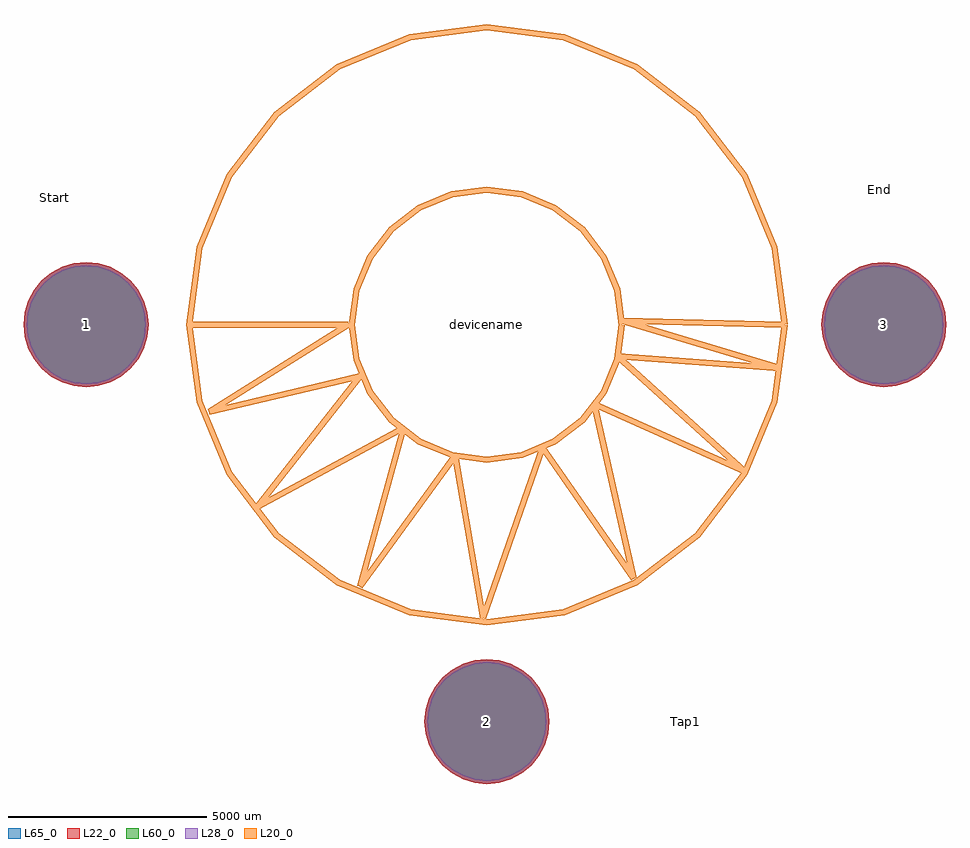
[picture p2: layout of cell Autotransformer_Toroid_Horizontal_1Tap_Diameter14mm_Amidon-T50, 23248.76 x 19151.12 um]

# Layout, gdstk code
import gdstk
lib = gdstk.Library(unit=1e-6, precision=1e-09)
def P(c, l, *ps):  # polygons
    for p in ps: c.add(gdstk.Polygon(p, *l))
L20_0 = (20, 0)
L22_0 = (22, 0)
L28_0 = (28, 0)
L60_0 = (60, 0)
L65_0 = (65, 0)

autotransformer_toroid_h = lib.new_cell('Autotransformer_Toroid_Horizontal_1Tap_Diameter14mm_Amidon-T50')
P(autotransformer_toroid_h, L22_0, [(11574.85,0),(11544.589,307.242),(11454.97,602.677),(11309.437,874.951),(11113.581,1113.601),(10874.931,1309.457),(10602.657,1454.99),(10307.222,1544.609),(9999.98,1574.87),(9692.738,1544.609),(9397.303,1454.99),(9125.029,1309.457),(8886.379,1113.601),(8690.523,874.951),(8544.99,602.677),(8455.371,307.242),(8425.11,0),(8455.371,-307.242),(8544.99,-602.677),(8690.523,-874.951),(8886.379,-1113.601),(9125.029,-1309.457),(9397.303,-1454.99),(9692.738,-1544.609),(9999.98,-1574.87),(10307.222,-1544.609),(10602.657,-1454.99),(10874.931,-1309.457),(11113.581,-1113.601),(11309.437,-874.951),(11454.97,-602.677),(11544.589,-307.242)],
  [(1574.87,-9999.98),(1544.609,-9692.738),(1454.99,-9397.303),(1309.457,-9125.029),(1113.601,-8886.379),(874.951,-8690.523),(602.677,-8544.99),(307.242,-8455.371),(0,-8425.11),(-307.242,-8455.371),(-602.677,-8544.99),(-874.951,-8690.523),(-1113.601,-8886.379),(-1309.457,-9125.029),(-1454.99,-9397.303),(-1544.609,-9692.738),(-1574.87,-9999.98),(-1544.609,-10307.222),(-1454.99,-10602.657),(-1309.457,-10874.931),(-1113.601,-11113.581),(-874.951,-11309.437),(-602.677,-11454.97),(-307.242,-11544.589),(0,-11574.85),(307.242,-11544.589),(602.677,-11454.97),(874.951,-11309.437),(1113.601,-11113.581),(1309.457,-10874.931),(1454.99,-10602.657),(1544.609,-10307.222)],
  [(-8524.17,0),(-8554.431,307.242),(-8644.05,602.677),(-8789.583,874.951),(-8985.439,1113.601),(-9224.089,1309.457),(-9496.363,1454.99),(-9791.798,1544.609),(-10099.04,1574.87),(-10406.282,1544.609),(-10701.717,1454.99),(-10973.991,1309.457),(-11212.641,1113.601),(-11408.497,874.951),(-11554.03,602.677),(-11643.649,307.242),(-11673.91,0),(-11643.649,-307.242),(-11554.03,-602.677),(-11408.497,-874.951),(-11212.641,-1113.601),(-10973.991,-1309.457),(-10701.717,-1454.99),(-10406.282,-1544.609),(-10099.04,-1574.87),(-9791.798,-1544.609),(-9496.363,-1454.99),(-9224.089,-1309.457),(-8985.439,-1113.601),(-8789.583,-874.951),(-8644.05,-602.677),(-8554.431,-307.242)])
P(autotransformer_toroid_h, L28_0, [(11499.85,0),(11471.03,292.61),(11385.679,573.975),(11247.076,833.283),(11060.548,1060.568),(10833.263,1247.096),(10573.955,1385.699),(10292.59,1471.05),(9999.98,1499.87),(9707.37,1471.05),(9426.005,1385.699),(9166.697,1247.096),(8939.412,1060.568),(8752.884,833.283),(8614.281,573.975),(8528.93,292.61),(8500.11,0),(8528.93,-292.61),(8614.281,-573.975),(8752.884,-833.283),(8939.412,-1060.568),(9166.697,-1247.096),(9426.005,-1385.699),(9707.37,-1471.05),(9999.98,-1499.87),(10292.59,-1471.05),(10573.955,-1385.699),(10833.263,-1247.096),(11060.548,-1060.568),(11247.076,-833.283),(11385.679,-573.975),(11471.03,-292.61)],
  [(1499.87,-9999.98),(1471.05,-9707.37),(1385.699,-9426.005),(1247.096,-9166.697),(1060.568,-8939.412),(833.283,-8752.884),(573.975,-8614.281),(292.61,-8528.93),(0,-8500.11),(-292.61,-8528.93),(-573.975,-8614.281),(-833.283,-8752.884),(-1060.568,-8939.412),(-1247.096,-9166.697),(-1385.699,-9426.005),(-1471.05,-9707.37),(-1499.87,-9999.98),(-1471.05,-10292.59),(-1385.699,-10573.955),(-1247.096,-10833.263),(-1060.568,-11060.548),(-833.283,-11247.076),(-573.975,-11385.679),(-292.61,-11471.03),(0,-11499.85),(292.61,-11471.03),(573.975,-11385.679),(833.283,-11247.076),(1060.568,-11060.548),(1247.096,-10833.263),(1385.699,-10573.955),(1471.05,-10292.59)],
  [(-8599.17,0),(-8627.99,292.61),(-8713.341,573.975),(-8851.944,833.283),(-9038.472,1060.568),(-9265.757,1247.096),(-9525.065,1385.699),(-9806.43,1471.05),(-10099.04,1499.87),(-10391.65,1471.05),(-10673.015,1385.699),(-10932.323,1247.096),(-11159.608,1060.568),(-11346.136,833.283),(-11484.739,573.975),(-11570.09,292.61),(-11598.91,0),(-11570.09,-292.61),(-11484.739,-573.975),(-11346.136,-833.283),(-11159.608,-1060.568),(-10932.323,-1247.096),(-10673.015,-1385.699),(-10391.65,-1471.05),(-10099.04,-1499.87),(-9806.43,-1471.05),(-9525.065,-1385.699),(-9265.757,-1247.096),(-9038.472,-1060.568),(-8851.944,-833.283),(-8713.341,-573.975),(-8627.99,-292.61)])
P(autotransformer_toroid_h, L60_0, [(11499.85,0),(11471.03,292.61),(11385.679,573.975),(11247.076,833.283),(11060.548,1060.568),(10833.263,1247.096),(10573.955,1385.699),(10292.59,1471.05),(9999.98,1499.87),(9707.37,1471.05),(9426.005,1385.699),(9166.697,1247.096),(8939.412,1060.568),(8752.884,833.283),(8614.281,573.975),(8528.93,292.61),(8500.11,0),(8528.93,-292.61),(8614.281,-573.975),(8752.884,-833.283),(8939.412,-1060.568),(9166.697,-1247.096),(9426.005,-1385.699),(9707.37,-1471.05),(9999.98,-1499.87),(10292.59,-1471.05),(10573.955,-1385.699),(10833.263,-1247.096),(11060.548,-1060.568),(11247.076,-833.283),(11385.679,-573.975),(11471.03,-292.61)],
  [(1499.87,-9999.98),(1471.05,-9707.37),(1385.699,-9426.005),(1247.096,-9166.697),(1060.568,-8939.412),(833.283,-8752.884),(573.975,-8614.281),(292.61,-8528.93),(0,-8500.11),(-292.61,-8528.93),(-573.975,-8614.281),(-833.283,-8752.884),(-1060.568,-8939.412),(-1247.096,-9166.697),(-1385.699,-9426.005),(-1471.05,-9707.37),(-1499.87,-9999.98),(-1471.05,-10292.59),(-1385.699,-10573.955),(-1247.096,-10833.263),(-1060.568,-11060.548),(-833.283,-11247.076),(-573.975,-11385.679),(-292.61,-11471.03),(0,-11499.85),(292.61,-11471.03),(573.975,-11385.679),(833.283,-11247.076),(1060.568,-11060.548),(1247.096,-10833.263),(1385.699,-10573.955),(1471.05,-10292.59)],
  [(-8599.17,0),(-8627.99,292.61),(-8713.341,573.975),(-8851.944,833.283),(-9038.472,1060.568),(-9265.757,1247.096),(-9525.065,1385.699),(-9806.43,1471.05),(-10099.04,1499.87),(-10391.65,1471.05),(-10673.015,1385.699),(-10932.323,1247.096),(-11159.608,1060.568),(-11346.136,833.283),(-11484.739,573.975),(-11570.09,292.61),(-11598.91,0),(-11570.09,-292.61),(-11484.739,-573.975),(-11346.136,-833.283),(-11159.608,-1060.568),(-10932.323,-1247.096),(-10673.015,-1385.699),(-10391.65,-1471.05),(-10099.04,-1499.87),(-9806.43,-1471.05),(-9525.065,-1385.699),(-9265.757,-1247.096),(-9038.472,-1060.568),(-8851.944,-833.283),(-8713.341,-573.975),(-8627.99,-292.61)])
P(autotransformer_toroid_h, L65_0, [(11574.85,0),(11544.589,307.242),(11454.97,602.677),(11309.437,874.951),(11113.581,1113.601),(10874.931,1309.457),(10602.657,1454.99),(10307.222,1544.609),(9999.98,1574.87),(9692.738,1544.609),(9397.303,1454.99),(9125.029,1309.457),(8886.379,1113.601),(8690.523,874.951),(8544.99,602.677),(8455.371,307.242),(8425.11,0),(8455.371,-307.242),(8544.99,-602.677),(8690.523,-874.951),(8886.379,-1113.601),(9125.029,-1309.457),(9397.303,-1454.99),(9692.738,-1544.609),(9999.98,-1574.87),(10307.222,-1544.609),(10602.657,-1454.99),(10874.931,-1309.457),(11113.581,-1113.601),(11309.437,-874.951),(11454.97,-602.677),(11544.589,-307.242)],
  [(1574.87,-9999.98),(1544.609,-9692.738),(1454.99,-9397.303),(1309.457,-9125.029),(1113.601,-8886.379),(874.951,-8690.523),(602.677,-8544.99),(307.242,-8455.371),(0,-8425.11),(-307.242,-8455.371),(-602.677,-8544.99),(-874.951,-8690.523),(-1113.601,-8886.379),(-1309.457,-9125.029),(-1454.99,-9397.303),(-1544.609,-9692.738),(-1574.87,-9999.98),(-1544.609,-10307.222),(-1454.99,-10602.657),(-1309.457,-10874.931),(-1113.601,-11113.581),(-874.951,-11309.437),(-602.677,-11454.97),(-307.242,-11544.589),(0,-11574.85),(307.242,-11544.589),(602.677,-11454.97),(874.951,-11309.437),(1113.601,-11113.581),(1309.457,-10874.931),(1454.99,-10602.657),(1544.609,-10307.222)],
  [(-8524.17,0),(-8554.431,307.242),(-8644.05,602.677),(-8789.583,874.951),(-8985.439,1113.601),(-9224.089,1309.457),(-9496.363,1454.99),(-9791.798,1544.609),(-10099.04,1574.87),(-10406.282,1544.609),(-10701.717,1454.99),(-10973.991,1309.457),(-11212.641,1113.601),(-11408.497,874.951),(-11554.03,602.677),(-11643.649,307.242),(-11673.91,0),(-11643.649,-307.242),(-11554.03,-602.677),(-11408.497,-874.951),(-11212.641,-1113.601),(-10973.991,-1309.457),(-10701.717,-1454.99),(-10406.282,-1544.609),(-10099.04,-1574.87),(-9791.798,-1544.609),(-9496.363,-1454.99),(-9224.089,-1309.457),(-8985.439,-1113.601),(-8789.583,-874.951),(-8644.05,-602.677),(-8554.431,-307.242)])
autotransformer_toroid_h.add(gdstk.FlexPath([(7500.62,0),(7245.043,1941.303),(6495.727,3750.31),(5303.739,5303.739),(3750.31,6495.727),(1941.303,7245.043),(0,7500.62),(-1941.303,7245.043),(-3750.31,6495.727),(-5303.739,5303.739),(-6495.727,3750.31),(-7245.043,1941.303),(-7500.62,0),(-7245.043,-1941.303),(-6495.727,-3750.31),(-5303.739,-5303.739),(-3750.31,-6495.727),(-1941.303,-7245.043),(0,-7500.62),(1941.303,-7245.043),(3750.31,-6495.727),(5303.739,-5303.739),(6495.727,-3750.31),(7245.043,-1941.303),(7500.62,0)], 149.998, ends="flush", simple_path=True, layer=20, datatype=0))  # L20_0
autotransformer_toroid_h.add(gdstk.FlexPath([(3401.06,0),(3285.172,880.259),(2945.404,1700.53),(2404.913,2404.913),(1700.53,2945.404),(880.259,3285.172),(0,3401.06),(-880.259,3285.172),(-1700.53,2945.404),(-2404.913,2404.913),(-2945.404,1700.53),(-3285.172,880.259),(-3401.06,0),(-3285.172,-880.259),(-2945.404,-1700.53),(-2404.913,-2404.913),(-1700.53,-2945.404),(-880.259,-3285.172),(0,-3401.06),(880.259,-3285.172),(1700.53,-2945.404),(2404.913,-2404.913),(2945.404,-1700.53),(3285.172,-880.259),(3401.06,0)], 149.998, ends="flush", simple_path=True, layer=20, datatype=0))  # L20_0
autotransformer_toroid_h.add(gdstk.FlexPath([(3401.06,99.06),(7500.62,0)], 149.998, ends="flush", simple_path=True, layer=20, datatype=0))  # L20_0
autotransformer_toroid_h.add(gdstk.FlexPath([(7399.02,-1099.82),(3401.06,99.06)], 149.998, ends="flush", simple_path=True, layer=20, datatype=0))  # L20_0
autotransformer_toroid_h.add(gdstk.FlexPath([(3299.46,-800.1),(7399.02,-1099.82)], 149.998, ends="flush", simple_path=True, layer=20, datatype=0))  # L20_0
autotransformer_toroid_h.add(gdstk.FlexPath([(6499.86,-3700.78),(3299.46,-800.1)], 149.998, ends="flush", simple_path=True, layer=20, datatype=0))  # L20_0
autotransformer_toroid_h.add(gdstk.FlexPath([(2700.02,-1998.98),(6499.86,-3700.78)], 149.998, ends="flush", simple_path=True, layer=20, datatype=0))  # L20_0
autotransformer_toroid_h.add(gdstk.FlexPath([(3700.78,-6400.8),(2700.02,-1998.98)], 149.998, ends="flush", simple_path=True, layer=20, datatype=0))  # L20_0
autotransformer_toroid_h.add(gdstk.FlexPath([(1399.54,-3098.8),(3700.78,-6400.8)], 149.998, ends="flush", simple_path=True, layer=20, datatype=0))  # L20_0
autotransformer_toroid_h.add(gdstk.FlexPath([(-99.06,-7399.02),(1399.54,-3098.8)], 149.998, ends="flush", simple_path=True, layer=20, datatype=0))  # L20_0
autotransformer_toroid_h.add(gdstk.FlexPath([(-800.1,-3299.46),(-99.06,-7399.02)], 149.998, ends="flush", simple_path=True, layer=20, datatype=0))  # L20_0
autotransformer_toroid_h.add(gdstk.FlexPath([(-3200.4,-6598.92),(-800.1,-3299.46)], 149.998, ends="flush", simple_path=True, layer=20, datatype=0))  # L20_0
autotransformer_toroid_h.add(gdstk.FlexPath([(-2100.58,-2600.96),(-3200.4,-6598.92)], 149.998, ends="flush", simple_path=True, layer=20, datatype=0))  # L20_0
autotransformer_toroid_h.add(gdstk.FlexPath([(-5798.82,-4599.94),(-2100.58,-2600.96)], 149.998, ends="flush", simple_path=True, layer=20, datatype=0))  # L20_0
autotransformer_toroid_h.add(gdstk.FlexPath([(-3200.4,-1300.48),(-5798.82,-4599.94)], 149.998, ends="flush", simple_path=True, layer=20, datatype=0))  # L20_0
autotransformer_toroid_h.add(gdstk.FlexPath([(-7000.24,-2199.64),(-3200.4,-1300.48)], 149.998, ends="flush", simple_path=True, layer=20, datatype=0))  # L20_0
autotransformer_toroid_h.add(gdstk.FlexPath([(-3500.12,0),(-7000.24,-2199.64)], 149.998, ends="flush", simple_path=True, layer=20, datatype=0))  # L20_0
autotransformer_toroid_h.add(gdstk.FlexPath([(-7500.62,0),(-3500.12,0)], 149.998, ends="flush", simple_path=True, layer=20, datatype=0))  # L20_0
autotransformer_toroid_h.add(gdstk.Label('3', (9999.98,0), layer=28, texttype=0))
autotransformer_toroid_h.add(gdstk.Label('2', (0,-9999.98), layer=28, texttype=0))
autotransformer_toroid_h.add(gdstk.Label('1', (-10099.04,0), layer=28, texttype=0))
autotransformer_toroid_h.add(gdstk.Label('Start', (-10899.14,3200.4), layer=9, texttype=0))
autotransformer_toroid_h.add(gdstk.Label('End', (9900.92,3401.06), layer=9, texttype=0))
autotransformer_toroid_h.add(gdstk.Label('Tap1', (5001.26,-9999.98), layer=9, texttype=0))
autotransformer_toroid_h.add(gdstk.Label('type', (0,-13970), layer=9, texttype=0))
autotransformer_toroid_h.add(gdstk.Label('devicename', (0,0), layer=9, texttype=0))

lib.write_gds('Autotransformer_Toroid_Horizontal_1Tap_Diameter14mm_Amidon-T50.gds')
